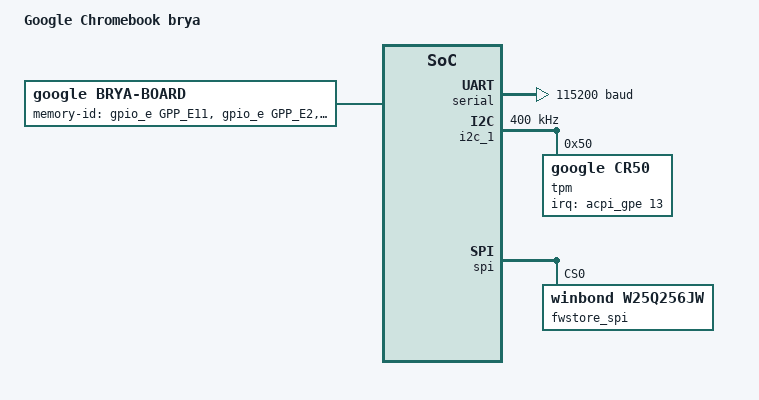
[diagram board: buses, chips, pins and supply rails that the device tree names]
// SPDX-License-Identifier: GPL-2.0+
/*
 * Copyright 2026 Simon Glass <sjg@chromium.org>
 *
 * Brya-class Chromebook (Alder Lake), running U-Boot natively
 */

/dts-v1/;

#include <dt-bindings/clock/intel-clock.h>
#include <dt-bindings/gpio/gpio.h>
#include <dt-bindings/gpio/intel-adl-gpio.h>
#include <dt-bindings/interrupt-controller/irq.h>
#include <asm/arch-alderlake/gpio.h>
#include <asm/intel_pinctrl_defs.h>

/*
 * The Alder Lake pinctrl uses four config words per pad, while the
 * shared pad macros emit two; the remaining two are zero
 */
#undef _PAD_CFG_STRUCT
#define _PAD_CFG_STRUCT(__pad, __config0, __config1) \
	__pad (__config0) (__config1) 0 0


/include/ "skeleton.dtsi"
/include/ "rtc.dtsi"
/include/ "reset.dtsi"

#include "tsc_timer.dtsi"

/ {
	model = "Google Chromebook brya";
	compatible = "google,brya", "intel,alderlake";

	aliases {
		/*
		 * Number the I2C bus as the hardware does, so the ACPI name
		 * inferred for the generated SSDT (I2C1) matches the device
		 * declared in the DSDT
		 */
		i2c1 = &i2c_1;
		serial0 = &serial;
		/* fsp_setup_pinctrl() applies the pads list found here */
		fsp = &fsp_pads;
	};

	chosen {
		stdout-path = &serial;
	};

	clk: clock {
		compatible = "intel,apl-clk";
		#clock-cells = <1>;
	};

	/*
	 * The PMC's ACPI I/O space (IOMAP_ACPI_BASE, 0x100 bytes). The
	 * GPE0 status registers sit at 0x60 within it on this PCH,
	 * unlike the usual 0x20
	 */
	acpi_gpe: general-purpose-events {
		reg = <0x1800 0x100>;
		compatible = "intel,acpi-gpe";
		gpe0-sts = <0x60>;
		interrupt-controller;
		#interrupt-cells = <2>;
	};

	config {
		silent-console = <0>;
	};

	/*
	 * The console. This uses the UART's MMIO directly, rather than a PCI
	 * node, since probing a PCI device means enumerating the bus, which
	 * cannot be done before silicon init. The BAR is set up by the early
	 * console code in TPL
	 */
	serial: serial@fe03e000 {
		bootph-all;
		compatible = "intel,apl-ns16550";
		reg = <0xfe03e000 0x100>;
		early-regs = <0xfe03e000 0x100>;
		reg-shift = <2>;
		clock-frequency = <1843200>;
		current-speed = <115200>;
	};

	board {
		bootph-pre-ram;
		compatible = "google,brya-board";

		/*
		 * The DRAM-ID straps, which select the SPD data to use. They
		 * are read as a binary value, with the first GPIO as bit 0
		 */
		memory-id-gpios = <&gpio_e GPP_E11 GPIO_ACTIVE_HIGH>,
				  <&gpio_e GPP_E2 GPIO_ACTIVE_HIGH>,
				  <&gpio_e GPP_E1 GPIO_ACTIVE_HIGH>,
				  <&gpio_e GPP_E12 GPIO_ACTIVE_HIGH>;
	};

	/*
	 * The CPUs provide the MADT local-APIC entries and the CPU count
	 * for the ACPI tables. This processor (i3-1215U) has two P-cores
	 * with two threads each and four E-cores; the APIC IDs follow the
	 * Alder Lake hybrid layout, with a stride of 8 between P-cores and
	 * 2 between E-cores
	 */
	cpus {
		#address-cells = <1>;
		#size-cells = <0>;

		cpu@0 {
			device_type = "cpu";
			compatible = "intel,alderlake-cpu";
			reg = <0>;
			intel,apic-id = <0>;
		};

		cpu@1 {
			device_type = "cpu";
			compatible = "intel,alderlake-cpu";
			reg = <1>;
			intel,apic-id = <1>;
		};

		cpu@2 {
			device_type = "cpu";
			compatible = "intel,alderlake-cpu";
			reg = <2>;
			intel,apic-id = <8>;
		};

		cpu@3 {
			device_type = "cpu";
			compatible = "intel,alderlake-cpu";
			reg = <3>;
			intel,apic-id = <9>;
		};

		cpu@4 {
			device_type = "cpu";
			compatible = "intel,alderlake-cpu";
			reg = <4>;
			intel,apic-id = <0x10>;
		};

		cpu@5 {
			device_type = "cpu";
			compatible = "intel,alderlake-cpu";
			reg = <5>;
			intel,apic-id = <0x12>;
		};

		cpu@6 {
			device_type = "cpu";
			compatible = "intel,alderlake-cpu";
			reg = <6>;
			intel,apic-id = <0x14>;
		};

		cpu@7 {
			device_type = "cpu";
			compatible = "intel,alderlake-cpu";
			reg = <7>;
			intel,apic-id = <0x16>;
		};
	};

	pci {
		compatible = "pci-x86";
		#address-cells = <3>;
		#size-cells = <2>;
		bootph-all;
		/*
		 * The ECAM region is at 0xc0000000, so PCI memory goes above
		 * it, below the 4GB MMIO which the SoC uses
		 */
		ranges = <0x02000000 0x0 0xd0000000 0xd0000000 0 0x20000000
			  0x42000000 0x0 0x90000000 0x90000000 0 0x30000000
			  0x01000000 0x0 0x1000 0x1000 0 0xefff>;
		u-boot,skip-auto-config-until-reloc;

		/*
		 * The PCIe root ports are not usable until silicon init has
		 * run, and scanning them before that hangs the platform, so
		 * only the devices in this devicetree are used until then
		 */
		u-boot,skip-enumeration-until-reloc;

		/*
		 * The console UART, used via the MMIO node above; disable
		 * it here so that PCI enumeration leaves its BAR alone
		 */
		serial-pci@1e,0 {
			reg = <0x0000f000 0 0 0 0>;
			status = "disabled";
		};

		northbridge: host-bridge@0,0 {
			reg = <0x00000000 0 0 0 0>;
			bootph-pre-ram;
			bootph-some-ram;
			compatible = "intel,alderlake-hostbridge";
			/* Its 'BARs' are fixed registers, not real BARs */
			pci,no-autoconfig;
		};

		i2c_1: i2c@15,1 {
			compatible = "intel,apl-i2c", "snps,designware-i2c-pci";
			reg = <0x0200a910 0 0 0 0>;
			#address-cells = <1>;
			#size-cells = <0>;
			clock-frequency = <400000>;
			i2c,speeds = <100000 400000>;
			clocks = <&clk CLK_I2C>;
			i2c-scl-rising-time-ns = <650>;
			i2c-scl-falling-time-ns = <400>;

			/*
			 * The Google Security Chip (Cr50), providing the TPM.
			 * Its command-complete signal on GPP_A13 is a short
			 * pulse, which polling the pad level would miss, so
			 * the pad routes to SCI and the driver watches the
			 * latched GPE status: GPP_A is on GPE0 DW0, so
			 * GPP_A13 is GPE number 13
			 */
			tpm: tpm@50 {
				reg = <0x50>;
				compatible = "google,cr50";
				u-boot,i2c-offset-len = <0>;
				interrupts-extended = <&acpi_gpe 13
					IRQ_TYPE_EDGE_FALLING>;
				acpi,hid = "GOOG0005";
				acpi,ddn = "I2C TPM";
				acpi,name = "TPMI";
			};
		};

		p2sb: p2sb@1f,1 {
			reg = <0x0000f900 0 0 0 0>;
			bootph-all;
			compatible = "intel,p2sb";
			early-regs = <0xfd000000 0x1000000>;
			pci,no-autoconfig;

			/*
			 * The interrupt controller. GPE routing is not set up
			 * yet, so the route table is empty
			 */
			itss {
				bootph-all;
				compatible = "intel,itss";
				intel,p2sb-port-id = <0xc4>;
				intel,pmc-routes = <0 0>;
			};

			/* GPIO community 0 holds GPP_B, T, A */
			pinctrl_com0 {
				compatible = "intel,alderlake-pinctrl";
				bootph-some-ram;
				intel,p2sb-port-id = <PID_GPIOCOM0>;
				gpio_a: gpio-com0 {
					compatible = "intel,gpio";
					gpio-controller;
					#gpio-cells = <2>;
				};
			};

			/* GPIO community 1 holds GPP_S, H, D and the vGPIOs */
			pinctrl_com1 {
				compatible = "intel,alderlake-pinctrl";
				bootph-some-ram;
				intel,p2sb-port-id = <PID_GPIOCOM1>;
				gpio_s: gpio-com1 {
					compatible = "intel,gpio";
					gpio-controller;
					#gpio-cells = <2>;
				};
			};

			/* GPIO community 2 holds the GPD pads */
			pinctrl_com2 {
				compatible = "intel,alderlake-pinctrl";
				bootph-some-ram;
				intel,p2sb-port-id = <PID_GPIOCOM2>;
				gpio_gpd: gpio-com2 {
					compatible = "intel,gpio";
					gpio-controller;
					#gpio-cells = <2>;
				};
			};

			/* GPIO community 3 holds the PCIe vGPIOs */
			pinctrl_com3 {
				compatible = "intel,alderlake-pinctrl";
				bootph-some-ram;
				intel,p2sb-port-id = <PID_GPIOCOM3>;
				gpio_vgpio: gpio-com3 {
					compatible = "intel,gpio";
					gpio-controller;
					#gpio-cells = <2>;
				};
			};

			/* GPIO community 4 holds GPP_C, F, E */
			pinctrl_com4 {
				compatible = "intel,alderlake-pinctrl";
				bootph-all;
				intel,p2sb-port-id = <PID_GPIOCOM4>;
				gpio_e: gpio-com4 {
					compatible = "intel,gpio";
					bootph-all;
					gpio-controller;
					#gpio-cells = <2>;
				};
			};

			/* GPIO community 5 holds GPP_R and the SPI pads */
			pinctrl_com5 {
				compatible = "intel,alderlake-pinctrl";
				bootph-some-ram;
				intel,p2sb-port-id = <PID_GPIOCOM5>;
				gpio_r: gpio-com5 {
					compatible = "intel,gpio";
					gpio-controller;
					#gpio-cells = <2>;
				};
			};
		};

		spi: fast-spi@1f,5 {
			reg = <0x0000fd00 0 0 0 0>;
			bootph-pre-ram;
			bootph-some-ram;
			#address-cells = <1>;
			#size-cells = <0>;
			compatible = "intel,fast-spi";
			early-regs = <0xfe010000 0x1000>;
			intel,hardware-seq = <1>;
			/*
			 * Sizing this BAR breaks the flash memory map, which
			 * U-Boot is running from
			 */
			pci,no-autoconfig;

			fwstore_spi: spi-flash@0 {
				#address-cells = <1>;
				#size-cells = <1>;
				bootph-pre-ram;
				bootph-some-ram;
				reg = <0>;
				m25p,fast-read;
				compatible = "winbond,w25q256jw",
					 "jedec,spi-nor";

				rw-mrc-cache {
					label = "rw-mrc-cache";
					reg = <0x01000000 0x20000>;
					bootph-pre-ram;
					bootph-some-ram;
				};
			};
		};
	};
	/*
	 * The full brya + felwinter GPIO pad configuration, generated from
	 * coreboot's baseboard and variant tables (the variant overriding
	 * the baseboard, as coreboot merges them). Applied before FSP-S by
	 * fsp_setup_pinctrl() via the 'fsp' alias. Differences from
	 * coreboot: the _LOCK variants map to their plain equivalents (the
	 * pad lock is a separate sideband write, not pad state) and GPP_A13
	 * (the GSC interrupt) is left out, since U-Boot routes it to SCI
	 * with edge-invert (see setup_gsc_pads()) rather than to the APIC
	 */
	fsp_pads: fsp-pads {
		pads = <
		/*
		 * A0 thru A5, A9 and A10 come configured out of reset,
		 * do not touch
		 */
		/* A0  : ESPI_IO0 ==> ESPI_IO_0 */
		/* A1  : ESPI_IO1 ==> ESPI_IO_1 */
		/* A2  : ESPI_IO2 ==> ESPI_IO_2 */
		/* A3  : ESPI_IO3 ==> ESPI_IO_3 */
		/* A4  : ESPI_CS# ==> ESPI_CS_L */
		/* A5  : ESPI_ALERT0# ==> NC */
		PAD_NC(GPP_A5, NONE)
		/* A6  : ESPI_ALERT1# ==> SPKR_INT_L */
		PAD_CFG_GPI(GPP_A6, NONE, DEEP)
		/* A7  : SRCCLK_OE7# ==> PEN_DET_ODL */
		PAD_CFG_GPI_GPIO_DRIVER(GPP_A7, NONE, DEEP)
		/* A8  : SRCCLKREQ7# ==> PEN_DET_ODL */
		PAD_CFG_GPI_SCI_HIGH(GPP_A8, NONE, DEEP, EDGE_SINGLE)
		/* A9  : ESPI_CLK ==> ESPI_CLK */
		/* A10 : ESPI_RESET# ==> ESPI_PCH_RST_EC_L */
		/* A11 : PMC_I2C_SDA ==> EN_SPKR_PA */
		PAD_CFG_GPO(GPP_A11, 1, DEEP)
		/* A12 : SATAXPCIE1 ==> EN_PP3300_WWAN */
		PAD_CFG_GPO(GPP_A12, 1, DEEP)
		/* A14 : USB_OC1# ==> USB_C1_OC_ODL */
		PAD_CFG_NF(GPP_A14, NONE, DEEP, NF1)
		/* A15 : USB_OC2# ==> USB_C2_OC_ODL */
		PAD_CFG_NF(GPP_A15, NONE, DEEP, NF1)
		/* A16 : USB_OC3# ==> USB_A0_OC_ODL */
		PAD_CFG_NF(GPP_A16, NONE, PWROK, NF1)
		/* A17 : DISP_MISCC ==> EN_FCAM_PWR */
		PAD_CFG_GPO(GPP_A17, 1, DEEP)
		/* A18 : DDSP_HPDB ==> HDMI_HPD */
		PAD_CFG_NF(GPP_A18, NONE, DEEP, NF1)
		/* A19 : DDSP_HPD1 ==> USB_C2_AUX_DC_P */
		PAD_CFG_NF(GPP_A19, NONE, DEEP, NF6)
		/* A20 : DDSP_HPD2 ==> USB_C2_AUX_DC_N */
		PAD_CFG_NF(GPP_A20, NONE, DEEP, NF6)
		/* A21 : DDPC_CTRCLK ==> USB_C1_AUX_DC_P */
		PAD_CFG_NF(GPP_A21, NONE, DEEP, NF6)
		/* A22 : DDPC_CTRLDATA ==> USB_C1_AUX_DC_N */
		PAD_CFG_NF(GPP_A22, NONE, DEEP, NF6)
		/* A23 : ESPI_CS1# ==> AUD_HP_INT_L */
		PAD_CFG_GPI_INT(GPP_A23, NONE, PLTRST, EDGE_BOTH)
		/* B0  : SOC_VID0 */
		PAD_CFG_NF(GPP_B0, NONE, DEEP, NF1)
		/* B1  : SOC_VID1 */
		PAD_CFG_NF(GPP_B1, NONE, DEEP, NF1)
		/* B2  : VRALERT# ==> M2_SSD_PLA_L */
		PAD_CFG_GPO(GPP_B2, 1, PWROK)
		/* B3  : PROC_GP2 ==> NC */
		PAD_NC(GPP_B3, NONE)
		/* B4  : PROC_GP3 ==> SSD_PERST_L */
		PAD_CFG_GPO(GPP_B4, 1, PWROK)
		/* B5  : ISH_I2C0_SDA ==> NC */
		PAD_NC(GPP_B5, NONE)
		/* B6  : ISH_I2C0_SCL ==> NC */
		PAD_NC(GPP_B6, NONE)
		/* B7  : ISH_12C1_SDA ==> PCH_I2C_TPM_SDA */
		PAD_CFG_NF(GPP_B7, NONE, PWROK, NF2)
		/* B8  : ISH_I2C1_SCL ==> PCH_I2C_TPM_SCL */
		PAD_CFG_NF(GPP_B8, NONE, PWROK, NF2)
		/* B9  : NC */
		PAD_NC(GPP_B9, NONE)
		/* B10 : NC */
		PAD_NC(GPP_B10, NONE)
		/* B11 : PMCALERT# ==> EN_PP3300_WLAN */
		PAD_CFG_GPO(GPP_B11, 1, DEEP)
		/* B12 : SLP_S0# ==> SLP_S0_L */
		PAD_CFG_NF(GPP_B12, NONE, DEEP, NF1)
		/* B13 : PLTRST# ==> PLT_RST_L */
		PAD_CFG_NF(GPP_B13, NONE, DEEP, NF1)
		/* B14 : SPKR ==> GPP_B14_STRAP */
		PAD_NC(GPP_B14, NONE)
		/* B6  : TIME_SYNC0 ==> NC */
		PAD_NC(GPP_B15, NONE)
		/* B16 : I2C5_SDA ==> PCH_I2C_TCHPAD_SDA */
		PAD_CFG_NF(GPP_B16, NONE, PWROK, NF2)
		/* B17 : I2C5_SCL ==> PCH_I2C_TCHPAD_SCL */
		PAD_CFG_NF(GPP_B17, NONE, PWROK, NF2)
		/* B18 : ADR_COMPLETE ==> GPP_B18_STRAP */
		PAD_NC(GPP_B18, NONE)
		/* B19 : NC */
		PAD_NC(GPP_B19, NONE)
		/* B20 : NC */
		PAD_NC(GPP_B20, NONE)
		/* B21 : NC */
		PAD_NC(GPP_B21, NONE)
		/* B22 : NC */
		PAD_NC(GPP_B22, NONE)
		/* B23 : SML1ALERT# ==> PCHHOT_ODL_STRAP */
		PAD_NC(GPP_B23, NONE)
		/* C0  : SMBCLK ==> EN_PP3300_TCHSCR */
		PAD_CFG_GPO(GPP_C0, 1, DEEP)
		/* C1  : SMBDATA ==> USI_RST_L */
		PAD_CFG_GPO(GPP_C1, 1, DEEP)
		/* C2  : SMBALERT# ==> GPP_C2_STRAP */
		PAD_NC(GPP_C2, NONE)
		/* C3 : SML0CLK ==> NC */
		PAD_NC(GPP_C3, NONE)
		/* C4 : SML0DATA ==> EN_PP5000_PEN */
		PAD_CFG_GPO(GPP_C4, 1, DEEP)
		/* C5  : SML0ALERT# ==> GPP_C5_BOOT_STRAP0 */
		PAD_NC(GPP_C5, NONE)
		/* C6  : SML1CLK ==> USI_REPORT_EN */
		PAD_CFG_GPO(GPP_C6, 0, DEEP)
		/* C7  : SML1DATA ==> USI_INT */
		PAD_CFG_GPI_APIC(GPP_C7, NONE, PLTRST, LEVEL, NONE)
		/* D0  : ISH_GP0 ==> NC */
		PAD_NC(GPP_D0, NONE)
		/* D1  : ISH_GP1 ==> NC */
		PAD_NC(GPP_D1, NONE)
		/* D2  : ISH_GP2 ==> NC */
		PAD_NC(GPP_D2, NONE)
		/* D3  : ISH_GP3 ==> NC */
		PAD_NC(GPP_D3, NONE)
		/* D4  : IMGCLKOUT0 ==> BT_DISABLE_L */
		PAD_CFG_GPO(GPP_D4, 1, DEEP)
		/* D5  : SRCCLKREQ0# ==> NC */
		PAD_NC(GPP_D5, NONE)
		/* D6  : SRCCLKREQ1# ==> SSD_CLKREQ_ODL */
		PAD_CFG_NF(GPP_D6, NONE, DEEP, NF1)
		/* D7  : SRCCLKREQ2# ==> WLAN_CLKREQ_ODL */
		PAD_CFG_NF(GPP_D7, NONE, DEEP, NF1)
		/* D8  : SRCCLKREQ3# ==> SD_CLKREQ_ODL */
		PAD_CFG_NF(GPP_D8, NONE, DEEP, NF1)
		/* D9  : ISH_SPI_CS# ==> USB_C2_LSX_TX */
		PAD_CFG_NF(GPP_D9, NONE, PWROK, NF4)
		/* D10 : ISH_SPI_CLK ==> USB_C2_LSX_RX_STRAP */
		PAD_CFG_NF(GPP_D10, NONE, PWROK, NF4)
		/* D11 : ISH_SPI_MISO ==> EN_PP3300_SSD */
		PAD_CFG_GPO(GPP_D11, 1, PWROK)
		/* D12 : ISH_SPI_MOSI ==> GPP_D12_STRAP */
		PAD_NC(GPP_D12, NONE)
		/* D13 : ISH_UART0_RXD ==> CAM_PSW_L */
		PAD_CFG_GPI_INT(GPP_D13, NONE, PWROK, EDGE_BOTH)
		/* D14 : ISH_UART0_TXD ==> SPKR_INT_L */
		PAD_CFG_GPI(GPP_D14, NONE, PWROK)
		/* D15 : ISH_UART0_RTS# ==> NC */
		PAD_NC(GPP_D15, NONE)
		/* D16 : ISH_UART0_CTS# ==> NC */
		PAD_NC(GPP_D16, NONE)
		/* D17 : UART1_RXD ==> SD_PE_PRSNT_L */
		PAD_CFG_GPI(GPP_D17, NONE, PWROK)
		/* D18 : UART1_TXD ==> SD_PE_RST_L */
		PAD_CFG_GPO(GPP_D18, 1, PWROK)
		/* D19 : I2S_MCLK1_OUT ==> I2S_MCLK_R */
		PAD_CFG_NF(GPP_D19, NONE, DEEP, NF1)
		/* E0  : see end of E group */
		/* E1  : THC0_SPI1_IO2 ==> MEM_STRAP_2 */
		PAD_CFG_GPI(GPP_E1, NONE, PWROK)
		/* E2  : THC0_SPI1_IO3 ==> MEM_STRAP_1 */
		PAD_CFG_GPI(GPP_E2, NONE, PWROK)
		/* E3  : PROC_GP0 ==> NC */
		PAD_NC(GPP_E3, NONE)
		/* E4  : SATA_DEVSLP0 ==> USB4_BB_RT_FORCE_PWR */
		PAD_CFG_GPO(GPP_E4, 0, DEEP)
		/* E5  : SATA_DEVSLP1 ==> USB_A0_RT_RST_ODL */
		PAD_CFG_GPO(GPP_E5, 1, DEEP)
		/* E6  : THC0_SPI1_RST# ==> GPPE6_STRAP */
		PAD_NC(GPP_E6, NONE)
		/* E7  : PROC_GP1 ==> NC */
		PAD_NC(GPP_E7, NONE)
		/* E8  : SLP_DRAM# ==> WIFI_DISABLE_L */
		PAD_CFG_GPO(GPP_E8, 1, DEEP)
		/* E9  : USB_OC0# ==> NC */
		PAD_NC(GPP_E9, NONE)
		/* E10 : THC0_SPI1_CS# ==> NC */
		PAD_NC(GPP_E10, NONE)
		/* E11 : THC0_SPI1_CLK ==> MEM_STRAP_0 */
		PAD_CFG_GPI(GPP_E11, NONE, PWROK)
		/* E12 : THC0_SPI1_IO1 ==> MEM_STRAP_3 */
		PAD_CFG_GPI(GPP_E12, NONE, PWROK)
		/* E13 : THC0_SPI1_IO2 ==> MEM_CH_SEL */
		PAD_CFG_GPI(GPP_E13, NONE, PWROK)
		/* E14 : DDSP_HPDA ==> SOC_EDP_HPD */
		PAD_CFG_NF(GPP_E14, NONE, DEEP, NF1)
		/* E15 : RSVD_TP ==> PCH_WP_OD */
		PAD_CFG_GPI_GPIO_DRIVER(GPP_E15, NONE, PWROK)
		/* E16 : RSVD_TP ==> NC */
		PAD_NC(GPP_E16, NONE)
		/* E17 : THC0_SPI1_INT# ==> NC */
		PAD_NC(GPP_E17, NONE)
		/* E18 : DDP1_CTRLCLK ==> NC */
		PAD_NC(GPP_E18, NONE)
		/* E19 : DDP1_CTRLDATA ==> GPP_E19_STRAP */
		PAD_NC(GPP_E19, NONE)
		/* E20 : DDP2_CTRLCLK ==> USB_C1_LSX_SOC_TX */
		PAD_CFG_NF(GPP_E20, NONE, DEEP, NF4)
		/* E21 : DDP2_CTRLDATA ==> USB_C1_LSX_SOC_RX_STRAP */
		PAD_CFG_NF(GPP_E21, NONE, DEEP, NF4)
		/* E22 : DDPA_CTRLCLK ==> NC */
		PAD_NC(GPP_E22, NONE)
		/* E23 : DDPA_CTRLDATA ==> NC */
		PAD_NC(GPP_E23, NONE)
		/* E0  : SATAXPCIE0 ==> NC */
		PAD_NC(GPP_E0, NONE)
		/* F0  : CNV_BRI_DT ==> CNV_BRI_DT_STRAP */
		PAD_CFG_NF(GPP_F0, NONE, DEEP, NF1)
		/* F1  : CNV_BRI_RSP ==> CNV_BRI_RSP */
		PAD_CFG_NF(GPP_F1, UP_20K, DEEP, NF1)
		/* F2  : CNV_RGI_DT ==> CNV_RGI_DT_STRAP */
		PAD_CFG_NF(GPP_F2, NONE, DEEP, NF1)
		/* F3  : CNV_RGI_RSP ==> CNV_RGI_RSP */
		PAD_CFG_NF(GPP_F3, UP_20K, DEEP, NF1)
		/* F4  : CNV_RF_RESET# ==> CNV_RF_RST_L */
		PAD_CFG_NF(GPP_F4, NONE, DEEP, NF1)
		/* F5  : MODEM_CLKREQ ==> CNV_CLKREQ0 */
		PAD_CFG_NF(GPP_F5, NONE, DEEP, NF3)
		/* F6  : CNV_PA_BLANKING ==> NC */
		PAD_NC(GPP_F6, NONE)
		/* F7  : GPPF7_STRAP */
		PAD_NC(GPP_F7, NONE)
		/* F8  : NC */
		PAD_NC(GPP_F8, NONE)
		/* F9  : BOOTMPC ==> SLP_S0_GATE_R */
		PAD_CFG_GPO(GPP_F9, 1, PLTRST)
		/* F10 : GPPF10_STRAP */
		PAD_NC(GPP_F10, DN_20K)
		/* F11 : THC1_SPI2_CLK ==> NC */
		PAD_NC(GPP_F11, NONE)
		/* F12 : GSXDOUT ==> NC */
		PAD_NC(GPP_F12, NONE)
		/* F13 : GSXDOUT ==> NC */
		PAD_NC(GPP_F13, NONE)
		/* F14 : GSXDIN ==> TCHPAD_INT_ODL */
		PAD_CFG_GPI_IRQ_WAKE(GPP_F14, NONE, PWROK, LEVEL, INVERT)
		/* F15 : GSXSRESET# ==> NC */
		PAD_NC(GPP_F15, NONE)
		/* F16 : GSXCLK ==> NC */
		PAD_NC(GPP_F16, NONE)
		/* F17 : THC1_SPI2_RST# ==> EC_PCH_INT_ODL */
		PAD_CFG_GPI_APIC(GPP_F17, NONE, PWROK, LEVEL, INVERT)
		/* F18 : THC1_SPI2_INT# ==> EC_IN_RW_OD */
		PAD_CFG_GPI(GPP_F18, NONE, PWROK)
		/* F19 : SRCCLKREQ6# ==> M2_SSD_PLN_L */
		PAD_CFG_GPO(GPP_F19, 1, PLTRST)
		/* F20 : EXT_PWR_GATE# ==> NC */
		PAD_NC(GPP_F20, NONE)
		/* F21 : EXT_PWR_GATE2# ==> NC */
		PAD_NC(GPP_F21, NONE)
		/* F22 : NC */
		PAD_NC(GPP_F22, NONE)
		/* F23 : NC */
		PAD_NC(GPP_F23, NONE)
		/* H0  : GPPH0_BOOT_STRAP1 */
		PAD_NC(GPP_H0, NONE)
		/* H1  : GPPH1_BOOT_STRAP2 */
		PAD_NC(GPP_H1, NONE)
		/* H2  : GPPH2_BOOT_STRAP3 */
		PAD_NC(GPP_H2, NONE)
		/* H3  : SX_EXIT_HOLDOFF# ==> WLAN_PCIE_WAKE_ODL */
		PAD_CFG_GPI(GPP_H3, NONE, PWROK)
		/* H4  : I2C0_SDA ==> PCH_I2C_AUD_SDA */
		PAD_CFG_NF(GPP_H4, NONE, DEEP, NF1)
		/* H5  : I2C0_SCL ==> PCH_I2C_AUD_SCL */
		PAD_CFG_NF(GPP_H5, NONE, DEEP, NF1)
		/* H6  : I2C1_SDA ==> PCH_I2C_TPM_SDA */
		PAD_CFG_NF(GPP_H6, NONE, PWROK, NF1)
		/* H7  : I2C1_SCL ==> PCH_I2C_TPM_SCL */
		PAD_CFG_NF(GPP_H7, NONE, PWROK, NF1)
		/* H8  : I2C4_SDA ==> NC */
		PAD_NC(GPP_H8, NONE)
		/* H9  : I2C4_SCL ==> NC */
		PAD_NC(GPP_H9, NONE)
		/* H10 : UART0_RXD ==> UART_PCH_RX_DBG_TX */
		PAD_CFG_NF(GPP_H10, NONE, DEEP, NF2)
		/* H11 : UART0_TXD ==> UART_PCH_TX_DBG_RX */
		PAD_CFG_NF(GPP_H11, NONE, DEEP, NF2)
		/* H12 : I2C7_SDA ==> SD_PE_WAKE_ODL */
		PAD_CFG_GPI(GPP_H12, NONE, PWROK)
		/* H13 : I2C7_SCL ==> EN_PP3300_SD */
		PAD_NC(GPP_H13, UP_20K)
		/* H14 : NC */
		PAD_NC(GPP_H14, NONE)
		/* H15 : DDPB_CTRLCLK ==> DDIB_HDMI_CTRLCLK */
		PAD_CFG_NF(GPP_H15, NONE, DEEP, NF1)
		/* H16 : NC */
		PAD_NC(GPP_H16, NONE)
		/* H17 : DDPB_CTRLDATA ==> DDIB_HDMI_CTRLDATA */
		PAD_CFG_NF(GPP_H17, NONE, DEEP, NF1)
		/* H18 : PROC_C10_GATE# ==> CPU_C10_GATE_L */
		PAD_CFG_NF(GPP_H18, NONE, DEEP, NF1)
		/* H19 : SRCCLKREQ4# ==> NC */
		PAD_NC(GPP_H19, NONE)
		/* H20 : IMGCLKOUT1 ==> WLAN_PERST_L */
		PAD_CFG_GPO(GPP_H20, 1, DEEP)
		/* H21 : IMGCLKOUT2 ==>  NC */
		PAD_NC(GPP_H21, NONE)
		/* H22 : IMGCLKOUT3 ==> NC */
		PAD_NC(GPP_H22, NONE)
		/* H23 : SRCCLKREQ5# ==> NC */
		PAD_NC(GPP_H23, NONE)
		/* R0 : HDA_BCLK ==> I2S_HP_SCLK_R */
		PAD_CFG_NF(GPP_R0, NONE, DEEP, NF2)
		/* R1 : HDA_SYNC ==> I2S_HP_SFRM_R */
		PAD_CFG_NF(GPP_R1, NONE, DEEP, NF2)
		/* R2 : HDA_SDO ==> I2S_PCH_TX_HP_RX_STRAP */
		PAD_CFG_NF(GPP_R2, DN_20K, DEEP, NF2)
		/* R3 : HDA_SDIO ==> I2S_PCH_RX_HP_TX */
		PAD_CFG_NF(GPP_R3, NONE, DEEP, NF2)
		/* R4 : HDA_RST# ==> DMIC_CLK0 */
		PAD_CFG_NF(GPP_R4, NONE, DEEP, NF3)
		/* R5 : HDA_SDI1 ==> DMIC_DATA0 */
		PAD_CFG_NF(GPP_R5, NONE, DEEP, NF3)
		/* R6 : I2S2_TXD ==> NC */
		PAD_NC(GPP_R6, NONE)
		/* R7 : I2S2_RXD ==> NC */
		PAD_NC(GPP_R7, NONE)
		/* S0 : SNDW0_CLK ==> I2S_SPKR_SCLK_R */
		PAD_CFG_NF(GPP_S0, NONE, DEEP, NF4)
		/* S1 : SNDW0_DATA ==> I2S_SPKR_SFRM_R */
		PAD_CFG_NF(GPP_S1, NONE, DEEP, NF4)
		/* S2 : SNDW1_CLK ==> I2S_PCH_TX_SPKR_RX_R */
		PAD_CFG_NF(GPP_S2, NONE, DEEP, NF4)
		/* S3 : SNDW1_DATA ==> I2S_PCH_RX_SPKR_TX */
		PAD_CFG_NF(GPP_S3, NONE, DEEP, NF4)
		/* S4 : SNDW2_CLK ==> NC */
		PAD_NC(GPP_S4, NONE)
		/* S5 : SNDW2_DATA ==> NC */
		PAD_NC(GPP_S5, NONE)
		/* S6 : SNDW3_CLK ==> DMIC_CLK1_R */
		PAD_CFG_NF(GPP_S6, NONE, DEEP, NF2)
		/* S7 : SNDW3_DATA ==> DMIC_DATA1_R */
		PAD_CFG_NF(GPP_S7, NONE, DEEP, NF2)
		/* GPD0: BATLOW# ==> BATLOW_L */
		PAD_CFG_NF(GPD0, NONE, DEEP, NF1)
		/* GPD1: ACPRESENT ==> PCH_ACPRESENT */
		PAD_CFG_NF(GPD1, NONE, DEEP, NF1)
		/* GPD2 : LAN_WAKE# ==> EC_PCH_WAKE_ODL */
		PAD_CFG_NF(GPD2, NONE, DEEP, NF1)
		/* GPD3: PWRBTN# ==> EC_PCH_PWR_BTN_ODL */
		PAD_CFG_NF(GPD3, NONE, DEEP, NF1)
		/* GPD4: SLP_S3# ==> SLP_S3_L */
		PAD_CFG_NF(GPD4, NONE, DEEP, NF1)
		/* GPD5: SLP_S4# ==> SLP_S4_L */
		PAD_CFG_NF(GPD5, NONE, DEEP, NF1)
		/* GPD6: SLP_A# ==> SLP_A_L */
		PAD_CFG_NF(GPD6, NONE, DEEP, NF1)
		/* GPD7: GPD7_STRAP */
		PAD_NC(GPD7, NONE)
		/* GPD8: SUSCLK ==> PCH_SUSCLK */
		PAD_CFG_NF(GPD8, NONE, DEEP, NF1)
		/* GPD9: SLP_WLAN# ==> SLP_WLAN_L */
		PAD_CFG_NF(GPD9, NONE, DEEP, NF1)
		/* GPD10: SLP_S5# ==> SLP_S5_L */
		PAD_CFG_NF(GPD10, NONE, DEEP, NF1)
		/* GPD11: LANPHYC ==> WWAN_CONFIG1 */
		PAD_CFG_GPI(GPD11, NONE, DEEP)
		/* Virtual GPIO */
		/*
		 * Put unused Cnvi BT UART lines in NC mode since we use
		 * USB mode
		 */
		PAD_NC(GPP_VGPIO_6, NONE)
		PAD_NC(GPP_VGPIO_7, NONE)
		PAD_NC(GPP_VGPIO_8, NONE)
		PAD_NC(GPP_VGPIO_9, NONE)
		/*
		 * Put unused Cnvi UART0 lines in NC mode since we use USB
		 * mode
		 */
		PAD_NC(GPP_VGPIO_18, NONE)
		PAD_NC(GPP_VGPIO_19, NONE)
		PAD_NC(GPP_VGPIO_20, NONE)
		PAD_NC(GPP_VGPIO_21, NONE)
		/*
		 * Put the optional BT_I2S and SoC SSP2 pins in NC mode, so
		 * that each variant's override table can set the relevant
		 * VGPIOs as it needs
		 */
		/* BT_I2S_BCLK */
		PAD_NC(GPP_VGPIO_30, NONE)
		/* BT_I2S_SYNC */
		PAD_NC(GPP_VGPIO_31, NONE)
		/* BT_I2S_SDO */
		PAD_NC(GPP_VGPIO_32, NONE)
		/* BT_I2S_SDI */
		PAD_NC(GPP_VGPIO_33, NONE)
		/* SSP2_SCLK */
		PAD_NC(GPP_VGPIO_34, NONE)
		/* SSP2_SFRM */
		PAD_NC(GPP_VGPIO_35, NONE)
		/* SSP2_TXD */
		PAD_NC(GPP_VGPIO_36, NONE)
		/* SSP2_RXD */
		PAD_NC(GPP_VGPIO_37, NONE)
		>;
	};

};
